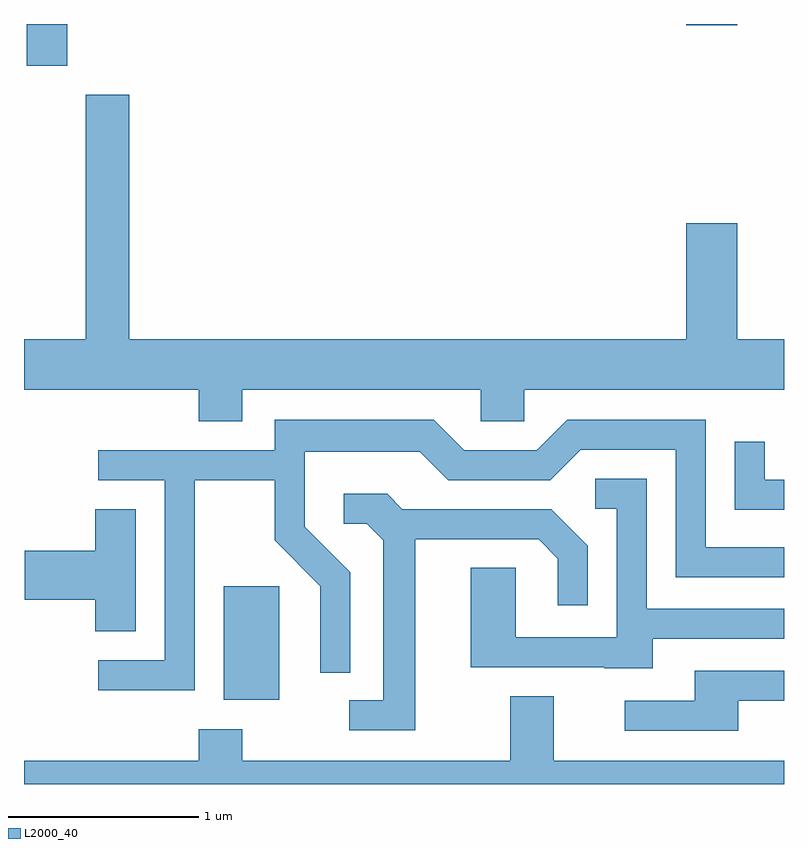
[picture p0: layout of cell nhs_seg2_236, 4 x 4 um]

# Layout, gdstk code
import gdstk
lib = gdstk.Library(unit=1e-6, precision=1e-09)
def R(c, l, rs):  # rectangles x0, y0, x1, y1
    for r in rs: c.add(gdstk.rectangle(r[:2], r[2:], *l))
def P(c, l, *ps):  # polygons
    for p in ps: c.add(gdstk.Polygon(p, *l))
L2000_40 = (2000, 40)

nhs_seg2_236 = lib.new_cell('nhs_seg2_236')
R(nhs_seg2_236, L2000_40, [(192.661,1042.246,192.954,1042.844), (191.626,1045.581,191.839,1045.802), (195.096,1045.796,195.364,1045.802)])
P(nhs_seg2_236, L2000_40, [(192.759,1043.876),(194.016,1043.876),(194.016,1043.711),(194.244,1043.711),(194.244,1043.876),(195.611,1043.876),(195.611,1044.144),(195.364,1044.144),(195.364,1044.754),(195.096,1044.754),(195.096,1044.144),(192.164,1044.144),(192.164,1045.429),(191.936,1045.429),(191.936,1044.144),(191.611,1044.144),(191.611,1043.876),(192.531,1043.876),(192.531,1043.711),(192.759,1043.711)],
  [(192.509,1043.401),(192.931,1043.401),(192.931,1043.084),(193.171,1042.844),(193.171,1042.388),(193.329,1042.388),(193.329,1042.917),(193.089,1043.157),(193.089,1043.551),(193.694,1043.551),(193.844,1043.401),(194.382,1043.401),(194.542,1043.561),(195.041,1043.561),(195.041,1042.891),(195.611,1042.891),(195.611,1043.049),(195.199,1043.049),(195.199,1043.719),(194.469,1043.719),(194.309,1043.559),(193.927,1043.559),(193.767,1043.719),(192.931,1043.719),(192.931,1043.559),(192.003,1043.559),(192.003,1043.401),(192.351,1043.401),(192.351,1042.454),(192.003,1042.454),(192.003,1042.296),(192.509,1042.296)],
  [(195.611,1043.404),(195.509,1043.404),(195.509,1043.603),(195.351,1043.603),(195.351,1043.246),(195.611,1043.246)],
  [(194.919,1042.566),(195.611,1042.566),(195.611,1042.724),(194.889,1042.724),(194.889,1043.409),(194.618,1043.409),(194.618,1043.251),(194.731,1043.251),(194.731,1042.574),(194.199,1042.574),(194.199,1042.939),(193.961,1042.939),(193.961,1042.416),(194.665,1042.416),(194.665,1042.411),(194.919,1042.411)],
  [(193.669,1043.091),(194.319,1043.091),(194.421,1042.988),(194.421,1042.743),(194.579,1042.743),(194.579,1043.056),(194.387,1043.249),(193.602,1043.249),(193.522,1043.329),(193.293,1043.329),(193.293,1043.171),(193.414,1043.171),(193.501,1043.084),(193.501,1042.244),(193.323,1042.244),(193.323,1042.086),(193.669,1042.086)],
  [(192.199,1043.249),(191.986,1043.249),(191.986,1043.029),(191.616,1043.029),(191.616,1042.771),(191.986,1042.771),(191.986,1042.606),(192.199,1042.606)],
  [(195.369,1042.241),(195.611,1042.241),(195.611,1042.399),(195.141,1042.399),(195.141,1042.239),(194.773,1042.239),(194.773,1042.081),(195.369,1042.081)],
  [(195.611,1041.924),(194.399,1041.924),(194.399,1042.264),(194.171,1042.264),(194.171,1041.924),(192.759,1041.924),(192.759,1042.089),(192.531,1042.089),(192.531,1041.924),(191.611,1041.924),(191.611,1041.802),(195.611,1041.802)])

lib.write_gds('nhs_seg2_236.gds')
